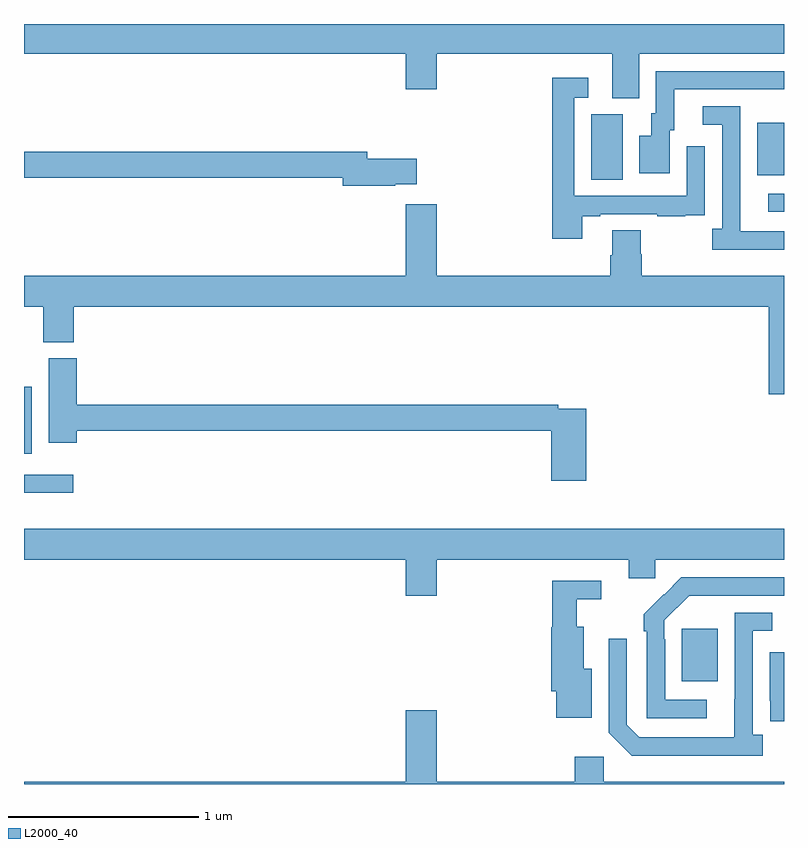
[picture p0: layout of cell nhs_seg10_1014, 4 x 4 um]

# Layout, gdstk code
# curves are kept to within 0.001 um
import gdstk
lib = gdstk.Library(unit=1e-6, precision=1e-09)
def R(c, l, rs):  # rectangles x0, y0, x1, y1
    for r in rs: c.add(gdstk.rectangle(r[:2], r[2:], *l))
def P(c, l, *ps):  # polygons
    for p in ps: c.add(gdstk.Polygon(p, *l))
L2000_40 = (2000, 40)

nhs_seg10_1014 = lib.new_cell('nhs_seg10_1014')
R(nhs_seg10_1014, L2000_40, [(166.463,1269.041,166.651,1269.316), (163,1270.032,163.258,1270.128), (163,1270.238,163.042,1270.591), (166.917,1271.511,167,1271.607), (165.986,1271.68,166.15,1272.024), (166.859,1271.705,167,1271.98)])
P(nhs_seg10_1014, L2000_40, [(166.237,1272.344),(167,1272.344),(167,1272.5),(163,1272.5),(163,1272.344),(165.008,1272.344),(165.008,1272.156),(165.172,1272.156),(165.172,1272.344),(166.097,1272.344),(166.097,1272.109),(166.237,1272.109)],
  [(166.399,1271.94),(166.423,1271.94),(166.423,1272.156),(167,1272.156),(167,1272.252),(166.326,1272.252),(166.326,1272.03),(166.301,1272.03),(166.301,1271.911),(166.238,1271.911),(166.238,1271.715),(166.399,1271.715)],
  [(165.937,1271.487),(166.033,1271.487),(166.033,1271.499),(166.333,1271.499),(166.333,1271.487),(166.481,1271.487),(166.481,1271.493),(166.583,1271.493),(166.583,1271.602),(166.584,1271.602),(166.584,1271.857),(166.488,1271.857),(166.488,1271.595),(165.897,1271.595),(165.897,1272.111),(165.97,1272.111),(165.97,1272.217),(165.781,1272.217),(165.781,1271.37),(165.937,1271.37)],
  [(167,1271.409),(166.771,1271.409),(166.771,1271.609),(166.77,1271.609),(166.77,1272.066),(166.572,1272.066),(166.572,1271.97),(166.674,1271.97),(166.674,1271.422),(166.623,1271.422),(166.623,1271.312),(167,1271.312)],
  [(164.954,1271.657),(165.067,1271.657),(165.067,1271.792),(164.806,1271.792),(164.806,1271.828),(163,1271.828),(163,1271.692),(164.678,1271.692),(164.678,1271.65),(164.954,1271.65)],
  [(167,1271.176),(166.25,1271.176),(166.25,1271.289),(166.245,1271.289),(166.245,1271.414),(166.097,1271.414),(166.097,1271.282),(166.085,1271.282),(166.085,1271.176),(165.172,1271.176),(165.172,1271.551),(165.008,1271.551),(165.008,1271.176),(163,1271.176),(163,1271.012),(163.102,1271.012),(163.102,1270.825),(163.262,1270.825),(163.262,1271.012),(166.919,1271.012),(166.919,1270.551),(167,1270.551)],
  [(165.959,1270.476),(165.812,1270.476),(165.812,1270.496),(163.277,1270.496),(163.277,1270.74),(163.13,1270.74),(163.13,1270.296),(163.277,1270.296),(163.277,1270.36),(165.776,1270.36),(165.776,1270.095),(165.959,1270.095)],
  [(165.172,1269.68),(166.184,1269.68),(166.184,1269.582),(166.323,1269.582),(166.323,1269.68),(167,1269.68),(167,1269.844),(163,1269.844),(163,1269.68),(165.008,1269.68),(165.008,1269.492),(165.172,1269.492)],
  [(166.594,1268.943),(166.374,1268.943),(166.374,1269.263),(166.371,1269.263),(166.371,1269.363),(166.5,1269.492),(167,1269.492),(167,1269.588),(166.46,1269.588),(166.263,1269.393),(166.263,1269.305),(166.278,1269.305),(166.278,1268.847),(166.594,1268.847)],
  [(165.988,1269.106),(165.946,1269.106),(165.946,1269.328),(165.91,1269.328),(165.91,1269.473),(166.039,1269.473),(166.039,1269.57),(165.781,1269.57),(165.781,1269.324),(165.776,1269.324),(165.776,1268.988),(165.8,1268.988),(165.8,1268.849),(165.988,1268.849)],
  [(166.888,1268.758),(166.836,1268.758),(166.836,1269.306),(166.939,1269.306),(166.939,1269.402),(166.74,1269.402),(166.739,1268.745),(166.239,1268.745),(166.173,1268.811),(166.173,1269.265),(166.077,1269.265),(166.077,1268.769),(166.198,1268.648),(166.888,1268.648)],
  [(167,1269.193),(166.926,1269.193),(166.926,1268.938),(166.927,1268.938),(166.927,1268.829),(167,1268.829)],
  [(167,1268.512),(166.05,1268.512),(166.05,1268.644),(165.899,1268.644),(165.899,1268.512),(165.172,1268.512),(165.172,1268.887),(165.008,1268.887),(165.008,1268.512),(163,1268.512),(163,1268.5),(167,1268.5)])

lib.write_gds('nhs_seg10_1014.gds')
